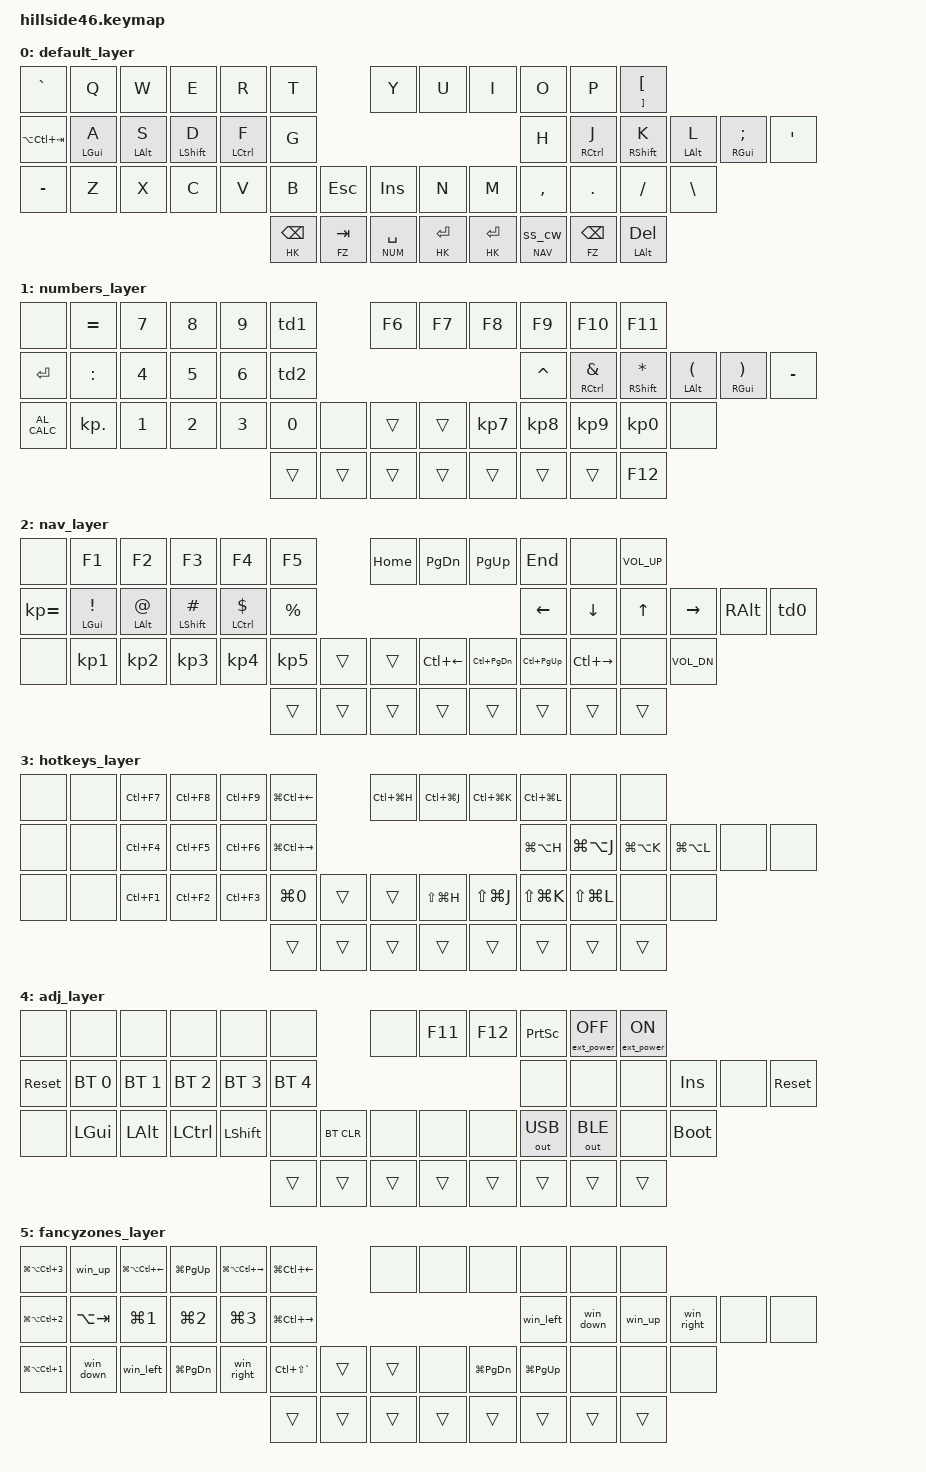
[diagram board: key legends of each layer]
/*
 * Copyright (c) 2021-2022 The ZMK Contributors
 *
 * SPDX-License-Identifier: MIT
 */

#include <behaviors.dtsi>
#include <dt-bindings/zmk/bt.h>
#include <dt-bindings/zmk/ext_power.h>
#include <dt-bindings/zmk/keys.h>
#include <dt-bindings/zmk/outputs.h>

// layer shortcuts, must match order in which they are defined below
#define DEF 0
#define NUM 1
#define NAV 2
#define HK 3
#define ADJ 4
#define FZ 5

#define Undo   LC(Z)
#define Redo   LC(Y)
#define Cut    LS(DEL)
#define Copy   LC(INS)
#define Paste  LS(INS)

#define XXX &none
#define ___ &trans

/* Settings */
#define QUICK_TAP_MS 175

#include "combos.dtsi"

&mt {
	flavor = "balanced";
};
&sk {
        quick-release;
};
&caps_word {
        // Allow caps word to continue even when minus, delete, left or underscore are pressed.
        continue-list = <UNDERSCORE MINUS BACKSPACE DELETE LEFT>;
};

/ {
        conditional_layers {
            compatible = "zmk,conditional-layers";
            tri_layer {
                if-layers = <1 2>;
                then-layer = <4>;
            };
        };
	behaviors {
                td0: td_ply_nxt {
                        compatible = "zmk,behavior-tap-dance";
                        label = "TD_PLY_NXT";
                        #binding-cells = <0>;
                        tapping-term-ms = <280>;
                        bindings = <&kp C_PLAY_PAUSE>, <&kp C_NEXT>, <&kp C_PREV>;
                };
                td1: td_mns_sls {
                        compatible = "zmk,behavior-tap-dance";
                        label = "TD_MNS_SLS";
                        #binding-cells = <0>;
                        tapping-term-ms = <200>;
                        bindings = <&kp KP_MINUS>, <&kp KP_SLASH>;
                };
                td2: td_pls_ast {
                        compatible = "zmk,behavior-tap-dance";
                        label = "TD_PLS_AST";
                        #binding-cells = <0>;
                        tapping-term-ms = <200>;
                        bindings = <&kp KP_PLUS>, <&kp KP_ASTERISK>;
                };
                gresc: grave_escape {
                        compatible = "zmk,behavior-mod-morph";
                        label = "GRAVE_ESCAPE";
                        #binding-cells = <0>;
                        bindings = <&kp ESC>, <&kp GRAVE>;
                        mods = <(MOD_LSFT|MOD_RSFT)>;
                        keep-mods = <MOD_RSFT>;
                };
                hrm: homerow_mods {
                        compatible = "zmk,behavior-hold-tap";
                        label = "HOMEROW_MODS";
                        #binding-cells = <2>;
                        flavor = "tap-preferred";
                        tapping-term-ms = <200>;
                        quick-tap-ms = <QUICK_TAP_MS>;
                        global-quick-tap;
                        bindings = <&kp>, <&kp>;
                };
                // tap: sticky-shift | shift + tap / double-tap: caps-word | hold: shift
                ss_cw: capsword {
                        compatible = "zmk,behavior-mod-morph";
                        label = "CAPSWORD";
                        #binding-cells = <0>;
                        bindings = <&sk LSHFT>, <&caps_word>;
                        mods = <(MOD_LSFT)>;
                };
                cw_ht: behavior_mo_cw {
                    compatible = "zmk,behavior-hold-tap";
                        label = "cw_ht";
                        #binding-cells = <2>;
                        flavor = "hold-preferred";
                        tapping-term-ms = <200>;
                        bindings = <&mo>, <&ss_cw>;
                };           
	};
        macros {
                win_left: win_left_macro {
                        compatible = "zmk,behavior-macro";
                        #binding-cells = <0>;
                        bindings
                                = <&macro_press &kp LGUI>
                                , <&macro_tap &kp LEFT>
                                , <&macro_release &kp LGUI>
                                ;
                };
                win_right: win_right_macro {
                        compatible = "zmk,behavior-macro";
                        #binding-cells = <0>;
                        bindings
                                = <&macro_press &kp LGUI>
                                , <&macro_tap &kp RIGHT>
                                , <&macro_release &kp LGUI>
                                ;
                };
                win_up: win_up_macro {
                        compatible = "zmk,behavior-macro";
                        #binding-cells = <0>;
                        bindings
                                = <&macro_press &kp LGUI>
                                , <&macro_tap &kp UP>
                                , <&macro_release &kp LGUI>
                                ;
                };
                win_down: win_down_macro {
                        compatible = "zmk,behavior-macro";
                        #binding-cells = <0>;
                        bindings
                                = <&macro_press &kp LGUI>
                                , <&macro_tap &kp DOWN>
                                , <&macro_release &kp LGUI>
                                ;
                };
        };


        keymap {
                compatible = "zmk,keymap";

                default_layer {
/* QWERTY - HRM on ASDF/JKL; | AC-Tab=Alt+Ctrl+Tab | [/]=tap:[, hold:] | thumb: hold=layer, tap=key
 * -------------------------------------------------------------------------------------------------------------------------------------
 * |  `    |   Q   |   W   |   E   |   R   |   T   |-----------------------------------|   Y   |   U   |   I   |   O   |   P   |  [/]  |
 * |AC-Tab |   A   |   S   |   D   |   F   |   G   |-----------------------------------|   H   |   J   |   K   |   L   |   ;   |   '   |
 * |   -   |   Z   |   X   |   C   |   V   |   B   |  ESC  |-------------------|  INS  |   N   |   M   |   ,   |   .   |   /   |   \   |
 *                                 |HK/BSPC|FZ/TAB |NUM/SPC|HK/ENT |HK/ENT |NAV/CW |FZ/BSPC| A/DEL |
 */
                        bindings = <
&kp GRAVE      &kp Q &kp W &kp E &kp R &kp T &kp Y                                                    &kp U   &kp I  &kp O   &kp P    &mt RBKT LBKT
&kp LA(LC(TAB)) &hrm LGUI A &hrm LALT S &hrm LSHIFT D &hrm LCTRL F  &kp G                             &kp H  &hrm RCTRL J &hrm RSHIFT K &hrm LALT L &hrm RGUI SEMI &kp SQT
&kp MINUS 	&kp Z &kp X &kp C &kp V &kp B   &kp ESC                                   &kp INSERT  &kp N  &kp M  &kp COMMA    &kp DOT &kp FSLH &kp BSLH
                                &lt HK BSPC &lt FZ TAB &lt NUM SPACE &lt HK RETURN     &lt HK RETURN &cw_ht NAV 0 &lt FZ BSPC &mt LALT DEL
                        >;
                };
		
                numbers_layer {
/* NUM - left: numpad 789/456/123 | right: symbols ^&*() and F6-F11 | -/ and +* are tap-dance
 * -------------------------------------------------------------------------------------------------------------------------------------
 * |       |   =   |   7   |   8   |   9   |  - /  |-----------------------------------|  F6   |  F7   |  F8   |  F9   |  F10  |  F11  |
 * | ENTER |   :   |   4   |   5   |   6   |  + *  |-----------------------------------|   ^   |   &   |   *   |   (   |   )   |   -   |
 * | CALC  |  KP.  |   1   |   2   |   3   |   0   |       |-------------------|       |       |  KP7  |  KP8  |  KP9  |  KP0  |       |
 *                                 |       |       |       |       |---|       |       |       |  F12  |
 */
                        bindings = <
XXX             &kp EQUAL  &kp N7 &kp N8 &kp N9 &td1 &kp F6                 &kp F7   &kp F8   &kp F9   &kp F10  &kp F11
&kp ENTER    	&kp COLON  &kp N4 &kp N5 &kp N6 &td2                        &kp CARET   &hrm RCTRL AMPS &hrm RSHIFT STAR &hrm LALT LPAR &hrm RGUI RPAR &kp MINUS
&kp C_AL_CALC   &kp KP_DOT &kp N1 &kp N2 &kp N3 &kp N0 XXX              ___ ___    &kp KP_N7   &kp KP_N8   &kp KP_N9   &kp KP_N0   XXX
                                                ___ ___ ___ ___ 	___ ___ ___ &kp F12 
                        >;
                };

                nav_layer {
/* NAV - left: F1-F5 top, symbols !@#$% home row, KP1-5 bottom | right: nav arrows, C=Ctrl+nav, volume
 * -------------------------------------------------------------------------------------------------------------------------------------
 * |       |  F1   |  F2   |  F3   |  F4   |  F5   |-----------------------------------| HOME  | PG_DN | PG_UP |  END  |       | VOL+  |
 * |  KP=  |   !   |   @   |   #   |   $   |   %   |-----------------------------------| LEFT  | DOWN  |  UP   | RIGHT | RALT  |PL/NXT |
 * |       |  KP1  |  KP2  |  KP3  |  KP4  |  KP5  |       |-------------------|       |  C-<- | C-PgD | C-PgU |  C->  |       | VOL-  |
 *                                 |       |       |       |       |---|       |       |       |       |
 */
                        bindings = <
XXX	        &kp F1      &kp F2 &kp F3   &kp F4      &kp F5                                   &kp HOME      &kp PG_DN        &kp PG_UP       &kp END   	XXX             &kp C_VOL_UP
&kp KP_EQUAL   &hrm LGUI EXCL  &hrm LALT AT &hrm LSHIFT HASH &hrm LCTRL DLLR  &kp PRCNT          &kp LEFT      &kp DOWN 	&kp UP          &kp RIGHT       &kp RALT        &td0
XXX         &kp KP_N1   &kp KP_N2 &kp KP_N3 &kp KP_N4 &kp KP_N5  ___                        ___  &kp LC(LEFT)  &kp LC(PG_DN)    &kp LC(PG_UP)   &kp LC(RIGHT)   XXX             &kp C_VOL_DN
                                                        ___ ___ ___ ___                 ___ ___ ___ ___
                        >;
                };

                hotkeys_layer {
/* HOTKEYS - G=Win+1..9 numpad left | GC=Win+Ctrl | GA=Win+Alt | GS=Win+Shift on HJKL right
 * -------------------------------------------------------------------------------------------------------------------------------------
 * |       |       |  G-7  |  G-8  |  G-9  | GC-<- |-----------------------------------| GC-H  | GC-J  | GC-K  | GC-L  |       |       |
 * |       |       |  G-4  |  G-5  |  G-6  | GC->  |-----------------------------------| GA-H  | GA-J  | GA-K  | GA-L  |       |       |
 * |       |       |  G-1  |  G-2  |  G-3  |  G-0  |       |-------------------|       | GS-H  | GS-J  | GS-K  | GS-L  |       |       |
 *                                 |       |       |       |       |---|       |       |       |       |
 */
                        bindings = <
XXX     XXX &kp LC(F7) &kp LC(F8) &kp LC(F9) &kp LG(LC(LEFT))                            &kp LC(LG(H)) &kp LC(LG(J)) &kp LC(LG(K)) &kp LC(LG(L)) XXX XXX
XXX     XXX &kp LC(F4) &kp LC(F5) &kp LC(F6) &kp LG(LC(RIGHT))                           &kp LG(LA(H)) &kp LG(LA(J)) &kp LG(LA(K)) &kp LG(LA(L)) XXX XXX
XXX     XXX &kp LC(F1) &kp LC(F2) &kp LC(F3) &kp LG(N0) ___                          ___ &kp LS(LG(H)) &kp LS(LG(J)) &kp LS(LG(K)) &kp LS(LG(L)) XXX XXX
                                                ___ ___ ___ ___              ___ ___ ___ ___
                        >;
                };
		
                adj_layer {
/* ADJUST - active when NUM+NAV held simultaneously
 * -------------------------------------------------------------------------------------------------------------------------------------
 * |       |       |       |       |       |       |-----------------------------------|       |  F11  |  F12  |PrtScr |EP_OFF | EP_ON |
 * | RESET | BT 0  | BT 1  | BT 2  | BT 3  | BT 4  |-----------------------------------|       |       |       |  INS  |       | RESET |
 * |       | LGUI  | LALT  | LCTRL | LSHIFT|       |BT CLR |-------------------|       |       |       |OUT_USB|OUT_BLE|       | BOOTL |
 *                                 |       |       |       |       |---|       |       |       |       |
 */
                        bindings = <
&none         &none &none &none &none         &none                                                                                       &none       &kp   F11       &kp   F12        &kp PRINTSCREEN   &ext_power EP_OFF  &ext_power EP_ON
&sys_reset    &bt  BT_SEL 0 &bt  BT_SEL 1 &bt  BT_SEL 2 &bt  BT_SEL 3 &bt  BT_SEL 4                                                       &none       &none           &none            &kp INS           &none           &sys_reset
&none         &kp  LGUI     &kp  LALT     &kp  LCTRL    &kp LSHIFT    &none         &bt BT_CLR                             &none      &none       &none           &out  OUT_USB    &out  OUT_BLE  &none           &bootloader
                                                        &trans        &trans        &trans        &trans         &trans    &trans     &trans      &trans 
                        >;
                };

                fancyzones_layer {
/* FANCYZONES - G=Win snap, GAC=Win+Alt+Ctrl FancyZones layouts, GC=Win+Ctrl desktops, SC=Shift+Ctrl
 * -------------------------------------------------------------------------------------------------------------------------------------
 * | GAC-3 | G-UP  |GAC-<- | G-PgU | GAC-> | GC-<- |-----------------------------------|       |       |       |       |       |       |
 * | GAC-2 | A-Tab |  G-1  |  G-2  |  G-3  | GC->  |-----------------------------------| G-<-  | G-DN  | G-UP  |  G->  |       |       |
 * | GAC-1 | G-DN  | G-<-  | G-PgD |  G->  | SC-`  |       |-------------------|       |       | G-PgD | G-PgU |       |       |       |
 *                                 |       |       |       |       |---|       |       |       |       |
 */
                        bindings = <
&kp LG(LA(LC(N3)))      &win_up       &kp LG(LA(LC(LEFT)))     &kp LG(PG_UP)   &kp LG(LA(LC(RIGHT)))   &kp LG(LC(LEFT))                                        XXX XXX XXX XXX XXX XXX
&kp LG(LA(LC(N2)))      &kp LA(TAB)   &kp LG(N1)               &kp LG(N2)      &kp LG(N3)              &kp LG(LC(RIGHT))                                       &win_left &win_down  &win_up &win_right XXX XXX
&kp LG(LA(LC(N1)))      &win_down     &win_left                &kp LG(PG_DN)   &win_right        &kp LC(LS(GRAVE)) ___                           ___    XXX &kp LG(PG_DN) &kp LG(PG_UP) XXX XXX XXX
                                                                                                                        ___ ___ ___ ___                   ___ ___ ___ ___
                        >;
                };
        };      
};
